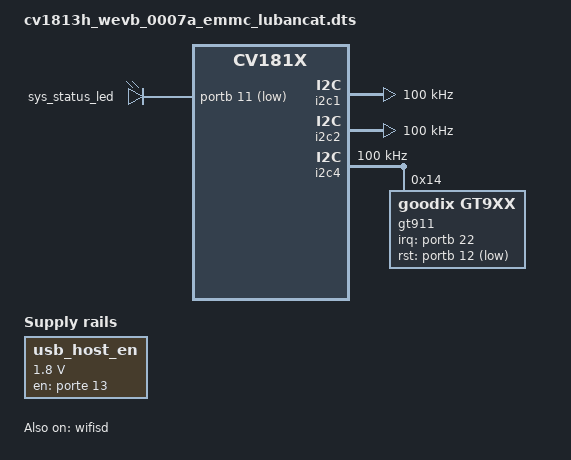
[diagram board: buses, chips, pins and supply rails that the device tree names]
/dts-v1/;
#include "cv181x_base_riscv.dtsi"
#include "cv181x_asic_bga.dtsi"
#include "cv181x_asic_emmc.dtsi"
#include "cv181x_default_memmap.dtsi"
#include "cv181x_base.dtsi"

#include "cv1813h_lubancat_keys.dtsi"

#include <dt-bindings/gpio/gpio.h>
#include <dt-bindings/interrupt-controller/irq.h>
#include <dt-bindings/input/linux-event-codes.h>


/ {
    	leds: leds {
			status = "okay";
			compatible = "gpio-leds";

			sys_status_led: sys-status-led {
				label = "sys_status_led";
				linux,default-trigger = "heartbeat";
				default-state = "on";
				gpios = <&portb 11 GPIO_ACTIVE_LOW>;
				};
			};

		usb_host_en: usb_host_en {
			compatible = "regulator-fixed";
			regulator-name = "usb_host_en";
			regulator-min-microvolt = <1800000>;
			regulator-max-microvolt = <1800000>;
			gpio = <&porte 13 GPIO_ACTIVE_HIGH>;
			regulator-always-on;
			enable-active-high;
		};
};

&wifisd {
		status = "okay";
};

&wifi_pin {
	poweron-gpio = <&porta 4 GPIO_ACTIVE_HIGH>;
	wakeup-gpio = <&porta 0 GPIO_ACTIVE_HIGH>;
};

&mipi_rx {
	snsr-reset = <&porta 18 GPIO_ACTIVE_LOW>, <&porta 20 GPIO_ACTIVE_LOW>;
};

&i2c1 {
	clock-frequency = <100000>;
	status = "okay";
};

&i2c2 {
	clock-frequency = <100000>;
	status = "okay";
};

&i2c4 {
	clock-frequency = <100000>;
	status = "okay";
	#address-cells = <1>;
	#size-cells = <0>;

	gt911: gt911@14 {
			compatible = "goodix,gt9xx";
			reg = <0x14>;
			status = "okay";
			goodix,irq-gpio = <&portb 22 GPIO_ACTIVE_HIGH>;
			goodix,rst-gpio = <&portb 12 GPIO_ACTIVE_LOW>;
		};
};

&mipi_tx {
	reset-gpio = <&portb 15 GPIO_ACTIVE_LOW>;
	pwm-gpio = <&portb 19 GPIO_ACTIVE_HIGH>;
	power-ct-gpio = <&porte 12 GPIO_ACTIVE_HIGH>;
};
